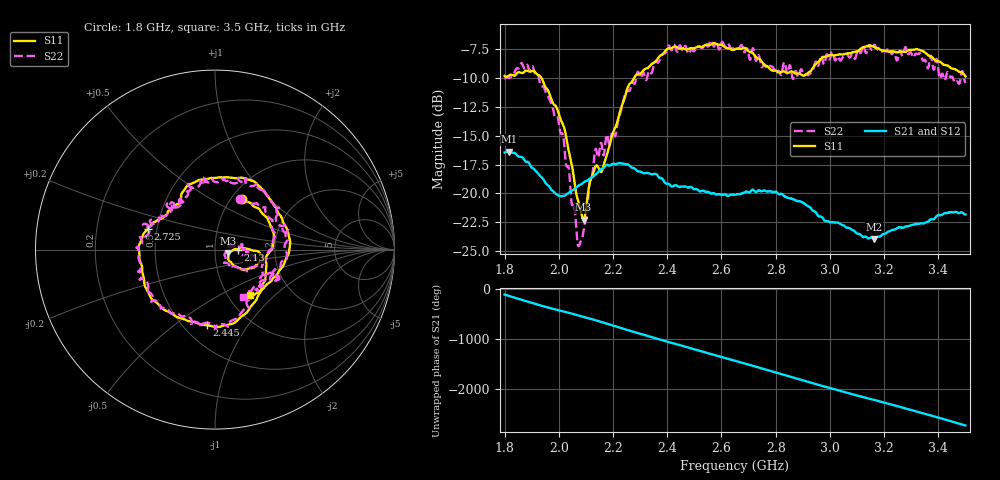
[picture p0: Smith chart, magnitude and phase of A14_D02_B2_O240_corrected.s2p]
! Created with skrf 1.9.0 (http://scikit-rf.org).
# Hz S RI R 50.0
!freq ReS11 ImS11 ReS21 ImS21 ReS12 ImS12 ReS22 ImS22
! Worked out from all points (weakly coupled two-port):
!   1601 points, 1.8 GHz to 3.5 GHz, reference 50 ohm
!   highest |S21| = -16.38 dB at 1.817 GHz (marker M1); lowest = -23.9 dB at 3.163 GHz (marker M2)
!   lowest |S11| = -22.3 dB at 2.091 GHz (marker M3), VSWR 1.17, Z = 57.9 - j2.51 ohm
!   |S11| at or under -10 dB: 1.936 GHz to 2.278 GHz (342.1 MHz wide, 16.2 % of centre)
!   |S22| runs from -24.6 to -6.8 dB; largest |S21 - S12| = 0.0025
!   S11 on the Smith chart (normalised r, x): 1.8 GHz: 1.12, +0.71; 2.13 GHz: 1.29, -0.01; 2.445 GHz: 0.65, -0.67; 2.725 GHz: 0.44, +0.12; 3.5 GHz: 1.26, -0.72
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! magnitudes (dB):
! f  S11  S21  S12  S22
! 1.8 GHz  -9.8  -16.5  -16.5  -10.1
! 1.817 GHz  -9.8  -16.4  -16.4  -10.0
! 1.902 GHz  -9.4  -17.8  -17.8  -9.0
! 1.967 GHz  -11.5  -19.5  -19.5  -11.9
! 2.021 GHz  -14.4  -20.2  -20.2  -16.1
! 2.071 GHz  -20.6  -19.4  -19.4  -24.5
! 2.084 GHz  -21.8  -19.2  -19.1  -24.0
! 2.091 GHz  -22.3  -19.0  -19.1  -23.3
! 2.13 GHz  -18.0  -18.5  -18.5  -16.9
! 2.162 GHz  -17.8  -17.8  -17.8  -16.4
! 2.209 GHz  -14.3  -17.5  -17.4  -15.0
! 2.26 GHz  -10.6  -17.6  -17.6  -11.1
! 2.367 GHz  -8.2  -18.6  -18.5  -8.6
! 2.445 GHz  -7.5  -19.4  -19.4  -7.2
! 2.65 GHz  -7.5  -20.1  -20.1  -7.4
! 2.725 GHz  -8.1  -19.9  -19.8  -8.4
! 2.812 GHz  -9.5  -20.1  -20.0  -9.4
! 2.934 GHz  -9.3  -21.4  -21.4  -9.5
! 3.163 GHz  -7.3  -23.9  -23.9  -7.1
! 3.217 GHz  -7.7  -23.3  -23.3  -7.4
! 3.327 GHz  -7.6  -22.6  -22.6  -7.9
! 3.5 GHz  -9.9  -21.8  -21.8  -10.3
